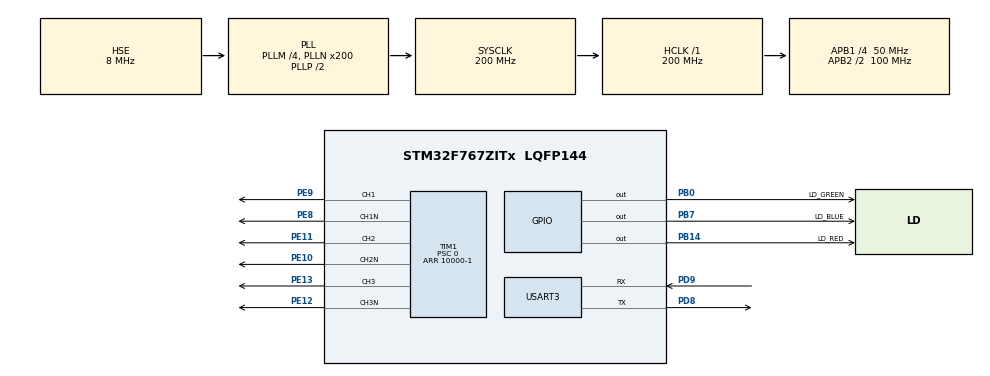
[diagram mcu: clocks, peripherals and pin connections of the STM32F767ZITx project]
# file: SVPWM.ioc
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Mcu.Family=STM32F7
RCC.CortexFreq_Value=200000000
PB14.GPIO_Label=LD_RED
RCC.SYSCLKSourceVirtual=RCC_SYSCLKSOURCE_PLLCLK
PB0.GPIO_Label=LD_GREEN
PD9.Mode=Asynchronous
RCC.SYSCLKSource=RCC_SYSCLKSOURCE_PLLCLK
ProjectManager.StackSize=0x400
USART3.VirtualMode-Asynchronous=VM_ASYNC
TIM1.Prescaler=0
PB0.PinState=GPIO_PIN_SET
PH0/OSC_IN.Mode=HSE-External-Oscillator
RCC.HCLKFreq_Value=200000000
RCC.APB2TimFreq_Value=200000000
TIM1.AutomaticOutput=TIM_AUTOMATICOUTPUT_DISABLE
PH1/OSC_OUT.Signal=RCC_OSC_OUT
PD8.Signal=USART3_TX
RCC.AHBFreq_Value=200000000
RCC.HSE_VALUE=8000000
TIM1.LockLevel=TIM_LOCKLEVEL_OFF
RCC.PLLMUL=RCC_PLL_MUL9
PE13.Signal=S_TIM1_CH3
PE9.Signal=S_TIM1_CH1
TIM1.DeadTime=100
PB7.Signal=GPIO_Output
PH1/OSC_OUT.Mode=HSE-External-Oscillator
PE10.Signal=TIM1_CH2N
VP_TIM1_VS_ClockSourceINT.Mode=Internal
TIM1.OCFastMode_PWM-PWM\ Generation1\ CH1\ CH1N=TIM_OCFAST_DISABLE
PB7.PinState=GPIO_PIN_SET
PB7.GPIO_Label=LD_BLUE
Mcu.Package=LQFP144
TIM1.OCFastMode_PWM-PWM\ Generation2\ CH2\ CH2N=TIM_OCFAST_ENABLE
RCC.APB2CLKDivider=RCC_HCLK_DIV2
TIM1.BreakState=TIM_BREAK_DISABLE
RCC.APB1TimFreq_Value=100000000
TIM1.Period=10000-1
TIM1.OCFastMode_PWM-PWM\ Generation3\ CH3\ CH3N=TIM_OCFAST_ENABLE
PE12.Mode=PWM Generation3 CH3 CH3N
RCC.PLLSourceVirtual=RCC_PLLSOURCE_HSE
TIM1.CounterMode=TIM_COUNTERMODE_CENTERALIGNED1
PE10.Mode=PWM Generation2 CH2 CH2N
PD9.Signal=USART3_RX
TIM1.Channel-PWM\ Generation1\ CH1\ CH1N=TIM_CHANNEL_1
RCC.APB1CLKDivider=RCC_HCLK_DIV4
PE8.Mode=PWM Generation1 CH1 CH1N
TIM1.AutoReloadPreload=TIM_AUTORELOAD_PRELOAD_ENABLE
TIM1.Channel-PWM\ Generation2\ CH2\ CH2N=TIM_CHANNEL_2
PB14.PinState=GPIO_PIN_SET
SH.S_TIM1_CH1.0=TIM1_CH1,PWM Generation1 CH1 CH1N
ProjectManager.TargetToolchain=STM32CubeIDE
TIM1.Channel-PWM\ Generation3\ CH3\ CH3N=TIM_CHANNEL_3
RCC.USBFreq_Value=100000000
PE11.Signal=S_TIM1_CH2
RCC.LSE_VALUE=32768
PD8.Mode=Asynchronous
PB14.Signal=GPIO_Output
board=NUCLEO-F767ZI
RCC.VCOOutputFreq_Value=400000000
TIM1.OCNPolarity_1=TIM_OCNPOLARITY_HIGH
PH0/OSC_IN.Signal=RCC_OSC_IN
RCC.APB2Freq_Value=100000000
RCC.PRESCALERUSB=RCC_USBCLKSOURCE_PLL_DIV1_5
SH.S_TIM1_CH2.0=TIM1_CH2,PWM Generation2 CH2 CH2N
PE8.Signal=TIM1_CH1N
Mcu.Name=STM32F767ZITx
PE12.Signal=TIM1_CH3N
RCC.48MHZClocksFreq_Value=24000000
RCC.SYSCLKFreq_VALUE=200000000
ProjectManager.HeapSize=0x200
SH.S_TIM1_CH3.0=TIM1_CH3,PWM Generation3 CH3 CH3N
RCC.HSI_VALUE=16000000
RCC.PLLQ=4
NVIC.PriorityGroup=NVIC_PRIORITYGROUP_4
RCC.PLLM=4
RCC.PLLN=200
RCC.APB1Freq_Value=50000000
PB0.Signal=GPIO_Output

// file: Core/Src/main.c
/* USER CODE BEGIN Header */
/**
 ******************************************************************************
 * @file           : main.c
 * @brief          : Main program body
 ******************************************************************************
 * @attention
 *
 * <h2><center>&copy; Copyright (c) 2021 STMicroelectronics.
 * All rights reserved.</center></h2>
 *
 * This software component is licensed by ST under BSD 3-Clause license,
 * the "License"; You may not use this file except in compliance with the
 * License. You may obtain a copy of the License at:
 *                        opensource.org/licenses/BSD-3-Clause
 *
 ******************************************************************************
 */
/* USER CODE END Header */
#include "main.h"

/* USER CODE BEGIN Includes */
#include "inverter.h"
#include <math.h>
/* USER CODE END Includes */

TIM_HandleTypeDef htim1;

UART_HandleTypeDef huart3;

void SystemClock_Config(void);
static void MX_GPIO_Init(void);
static void MX_TIM1_Init(void);
static void MX_USART3_UART_Init(void);

/* USER CODE BEGIN 0 */

/*
 * https://deepbluembedded.com/stm32-pwm-example-timer-pwm-mode-tutorial/
 * tim uptade frequency = TIM_CLK/(TIM_PSC+1)/(TIM_ARR + 1)
 * SystemCoreClock = 200e6
 * Prescaler = 1
 *
 */

typedef struct {
	char msg[250];
	unsigned int size;
} Message;

Message msg;

Inverter inv;

/* USER CODE END 0 */

int main(void) {
	/* USER CODE BEGIN 1 */
	//
	/* USER CODE END 1 */

	/* MCU Configuration--------------------------------------------------------*/

	/* Reset of all peripherals, Initializes the Flash interface and the Systick. */
	HAL_Init();

	/* Configure the system clock */
	SystemClock_Config();

	/* Initialize all configured peripherals */
	MX_GPIO_Init();
	MX_TIM1_Init();
	MX_USART3_UART_Init();
	/* USER CODE BEGIN 2 */
	HAL_TIM_PWM_Start(&htim1, TIM_CHANNEL_1);
	HAL_TIMEx_PWMN_Start(&htim1, TIM_CHANNEL_1);

	HAL_TIM_PWM_Start(&htim1, TIM_CHANNEL_2);
	HAL_TIMEx_PWMN_Start(&htim1, TIM_CHANNEL_2);

	HAL_TIM_PWM_Start(&htim1, TIM_CHANNEL_3);
	HAL_TIMEx_PWMN_Start(&htim1, TIM_CHANNEL_3);

	inv_init(&inv);
	inv.Vm = 20;
	/* USER CODE END 2 */

	/* Infinite loop */
	while (1) {

		/* USER CODE BEGIN 3 */

		inv.theta += 0.05;
		inv.theta = fmod(inv.theta, 2*PI);
		inv.theta = 2*PI / 6.0;
		inv_calc_dc(&inv);

		inv.dc[U] = 0.5;
		inv.dc[V] = 0.1;
		inv.dc[W] = 0.8;

		__HAL_TIM_SET_COMPARE(&htim1, TIM_CHANNEL_1, (10000 - 1) * inv.dc[U]);
		__HAL_TIM_SET_COMPARE(&htim1, TIM_CHANNEL_2, (10000 - 1) * inv.dc[V]);
		__HAL_TIM_SET_COMPARE(&htim1, TIM_CHANNEL_3, (10000 - 1) * inv.dc[W]);
		HAL_Delay(20);
		HAL_GPIO_TogglePin(LD_BLUE_GPIO_Port, LD_BLUE_Pin);

	}
	/* USER CODE END 3 */
}

void SystemClock_Config(void) {
	RCC_OscInitTypeDef RCC_OscInitStruct = { 0 };
	RCC_ClkInitTypeDef RCC_ClkInitStruct = { 0 };
	RCC_PeriphCLKInitTypeDef PeriphClkInitStruct = { 0 };

	/** Configure the main internal regulator output voltage
	 */
	__HAL_RCC_PWR_CLK_ENABLE();
	__HAL_PWR_VOLTAGESCALING_CONFIG(PWR_REGULATOR_VOLTAGE_SCALE1);
	/** Initializes the RCC Oscillators according to the specified parameters
	 * in the RCC_OscInitTypeDef structure.
	 */
	RCC_OscInitStruct.OscillatorType = RCC_OSCILLATORTYPE_HSE;
	RCC_OscInitStruct.HSEState = RCC_HSE_ON;
	RCC_OscInitStruct.PLL.PLLState = RCC_PLL_ON;
	RCC_OscInitStruct.PLL.PLLSource = RCC_PLLSOURCE_HSE;
	RCC_OscInitStruct.PLL.PLLM = 4;
	RCC_OscInitStruct.PLL.PLLN = 200;
	RCC_OscInitStruct.PLL.PLLP = RCC_PLLP_DIV2;
	RCC_OscInitStruct.PLL.PLLQ = 4;
	if (HAL_RCC_OscConfig(&RCC_OscInitStruct) != HAL_OK) {
		Error_Handler();
	}
	/** Activate the Over-Drive mode
	 */
	if (HAL_PWREx_EnableOverDrive() != HAL_OK) {
		Error_Handler();
	}
	/** Initializes the CPU, AHB and APB buses clocks
	 */
	RCC_ClkInitStruct.ClockType = RCC_CLOCKTYPE_HCLK | RCC_CLOCKTYPE_SYSCLK
			| RCC_CLOCKTYPE_PCLK1 | RCC_CLOCKTYPE_PCLK2;
	RCC_ClkInitStruct.SYSCLKSource = RCC_SYSCLKSOURCE_PLLCLK;
	RCC_ClkInitStruct.AHBCLKDivider = RCC_SYSCLK_DIV1;
	RCC_ClkInitStruct.APB1CLKDivider = RCC_HCLK_DIV4;
	RCC_ClkInitStruct.APB2CLKDivider = RCC_HCLK_DIV2;

	if (HAL_RCC_ClockConfig(&RCC_ClkInitStruct, FLASH_LATENCY_6) != HAL_OK) {
		Error_Handler();
	}
	PeriphClkInitStruct.PeriphClockSelection = RCC_PERIPHCLK_USART3;
	PeriphClkInitStruct.Usart3ClockSelection = RCC_USART3CLKSOURCE_PCLK1;
	if (HAL_RCCEx_PeriphCLKConfig(&PeriphClkInitStruct) != HAL_OK) {
		Error_Handler();
	}
}

static void MX_TIM1_Init(void) {

	TIM_ClockConfigTypeDef sClockSourceConfig = { 0 };
	TIM_MasterConfigTypeDef sMasterConfig = { 0 };
	TIM_OC_InitTypeDef sConfigOC = { 0 };
	TIM_BreakDeadTimeConfigTypeDef sBreakDeadTimeConfig = { 0 };

	htim1.Instance = TIM1;
	htim1.Init.Prescaler = 0;
	htim1.Init.CounterMode = TIM_COUNTERMODE_CENTERALIGNED1;
	htim1.Init.Period = 10000 - 1;
	htim1.Init.ClockDivision = TIM_CLOCKDIVISION_DIV1;
	htim1.Init.RepetitionCounter = 0;
	htim1.Init.AutoReloadPreload = TIM_AUTORELOAD_PRELOAD_ENABLE;
	if (HAL_TIM_Base_Init(&htim1) != HAL_OK) {
		Error_Handler();
	}
	sClockSourceConfig.ClockSource = TIM_CLOCKSOURCE_INTERNAL;
	if (HAL_TIM_ConfigClockSource(&htim1, &sClockSourceConfig) != HAL_OK) {
		Error_Handler();
	}
	if (HAL_TIM_PWM_Init(&htim1) != HAL_OK) {
		Error_Handler();
	}
	sMasterConfig.MasterOutputTrigger = TIM_TRGO_RESET;
	sMasterConfig.MasterOutputTrigger2 = TIM_TRGO2_RESET;
	sMasterConfig.MasterSlaveMode = TIM_MASTERSLAVEMODE_DISABLE;
	if (HAL_TIMEx_MasterConfigSynchronization(&htim1, &sMasterConfig)
			!= HAL_OK) {
		Error_Handler();
	}
	sConfigOC.OCMode = TIM_OCMODE_PWM1;
	sConfigOC.Pulse = 0;
	sConfigOC.OCPolarity = TIM_OCPOLARITY_HIGH;
	sConfigOC.OCNPolarity = TIM_OCNPOLARITY_HIGH;
	sConfigOC.OCFastMode = TIM_OCFAST_DISABLE;
	sConfigOC.OCIdleState = TIM_OCIDLESTATE_RESET;
	sConfigOC.OCNIdleState = TIM_OCNIDLESTATE_RESET;
	if (HAL_TIM_PWM_ConfigChannel(&htim1, &sConfigOC, TIM_CHANNEL_1)
			!= HAL_OK) {
		Error_Handler();
	}
	sConfigOC.OCFastMode = TIM_OCFAST_ENABLE;
	if (HAL_TIM_PWM_ConfigChannel(&htim1, &sConfigOC, TIM_CHANNEL_2)
			!= HAL_OK) {
		Error_Handler();
	}
	if (HAL_TIM_PWM_ConfigChannel(&htim1, &sConfigOC, TIM_CHANNEL_3)
			!= HAL_OK) {
		Error_Handler();
	}
	sBreakDeadTimeConfig.OffStateRunMode = TIM_OSSR_DISABLE;
	sBreakDeadTimeConfig.OffStateIDLEMode = TIM_OSSI_DISABLE;
	sBreakDeadTimeConfig.LockLevel = TIM_LOCKLEVEL_OFF;
	sBreakDeadTimeConfig.DeadTime = 100;
	sBreakDeadTimeConfig.BreakState = TIM_BREAK_DISABLE;
	sBreakDeadTimeConfig.BreakPolarity = TIM_BREAKPOLARITY_HIGH;
	sBreakDeadTimeConfig.BreakFilter = 0;
	sBreakDeadTimeConfig.Break2State = TIM_BREAK2_DISABLE;
	sBreakDeadTimeConfig.Break2Polarity = TIM_BREAK2POLARITY_HIGH;
	sBreakDeadTimeConfig.Break2Filter = 0;
	sBreakDeadTimeConfig.AutomaticOutput = TIM_AUTOMATICOUTPUT_DISABLE;
	if (HAL_TIMEx_ConfigBreakDeadTime(&htim1, &sBreakDeadTimeConfig)
			!= HAL_OK) {
		Error_Handler();
	}
	HAL_TIM_MspPostInit(&htim1);

}

static void MX_USART3_UART_Init(void) {

	huart3.Instance = USART3;
	huart3.Init.BaudRate = 115200;
	huart3.Init.WordLength = UART_WORDLENGTH_8B;
	huart3.Init.StopBits = UART_STOPBITS_1;
	huart3.Init.Parity = UART_PARITY_NONE;
	huart3.Init.Mode = UART_MODE_TX_RX;
	huart3.Init.HwFlowCtl = UART_HWCONTROL_NONE;
	huart3.Init.OverSampling = UART_OVERSAMPLING_16;
	huart3.Init.OneBitSampling = UART_ONE_BIT_SAMPLE_DISABLE;
	huart3.AdvancedInit.AdvFeatureInit = UART_ADVFEATURE_NO_INIT;
	if (HAL_UART_Init(&huart3) != HAL_OK) {
		Error_Handler();
	}

}

static void MX_GPIO_Init(void) {
	GPIO_InitTypeDef GPIO_InitStruct = { 0 };

	/* GPIO Ports Clock Enable */
	__HAL_RCC_GPIOH_CLK_ENABLE();
	__HAL_RCC_GPIOB_CLK_ENABLE();
	__HAL_RCC_GPIOE_CLK_ENABLE();
	__HAL_RCC_GPIOD_CLK_ENABLE();

	/*Configure GPIO pin Output Level */
	HAL_GPIO_WritePin(GPIOB, LD_GREEN_Pin | LD_RED_Pin | LD_BLUE_Pin,
			GPIO_PIN_SET);

	/*Configure GPIO pins : LD_GREEN_Pin LD_RED_Pin LD_BLUE_Pin */
	GPIO_InitStruct.Pin = LD_GREEN_Pin | LD_RED_Pin | LD_BLUE_Pin;
	GPIO_InitStruct.Mode = GPIO_MODE_OUTPUT_PP;
	GPIO_InitStruct.Pull = GPIO_NOPULL;
	GPIO_InitStruct.Speed = GPIO_SPEED_FREQ_LOW;
	HAL_GPIO_Init(GPIOB, &GPIO_InitStruct);

}

void Error_Handler(void) {
	__disable_irq();
	while (1) {
	}
}

/************************ (C) COPYRIGHT STMicroelectronics *****END OF FILE****/
